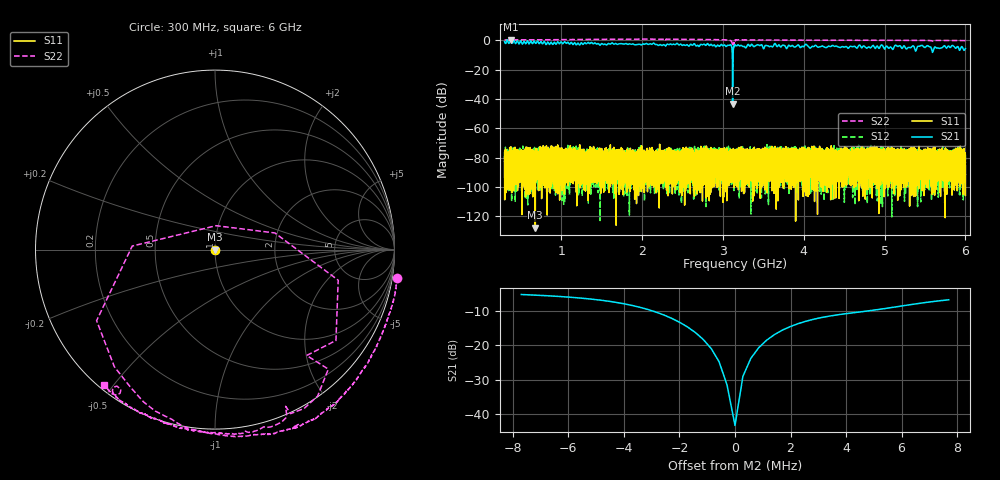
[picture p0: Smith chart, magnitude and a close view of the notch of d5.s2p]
!Agilent Technologies,N5230C,SG49000117,A.08.50.07
!Agilent N5230C: A.08.50.07
!Date: Sunday, March 17, 2024 09:05:26
!Correction: S11(Off)
!S21(Off)
!S12(Off)
!S22(Full 1 Port(2))
!S2P File: Measurements: S11, S21, S12, S22:
# Hz S  RI  R 50
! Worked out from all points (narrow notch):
!   20001 points, 300 MHz to 6 GHz, reference 50 ohm
!   highest |S21| = 0.47 dB at 374.1 MHz (marker M1); lowest = -43.3 dB at 3.12 GHz (marker M2)
!   notch at M2: 39.8 dB deep, 1.3 MHz wide at half that depth
!   lowest |S11| = -127.6 dB at 679.6 MHz (marker M3), VSWR 1.00, Z = 50 + j2.81e-05 ohm
!   |S11| at or under -10 dB: start of sweep to end of sweep
!   |S22| runs from -17.9 to 0.8 dB; largest |S21 - S12| = 1.1
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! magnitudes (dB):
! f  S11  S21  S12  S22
! 300 MHz  -82.7  -0.9  -79.2  0.2
! 374.1 MHz  -84.7  0.5  -77.6  0.2
! 679.6 MHz  -127.6  -1.9  -81.1  0.3
! 1.25 GHz  -86.4  -1.7  -82.4  0.5
! 2.2 GHz  -89.6  -3.6  -89.7  0.8
! 3.053 GHz  -86.9  -3.7  -98.1  0.2
! 3.084 GHz  -80.0  -3.3  -83.6  0.0
! 3.098 GHz  -90.3  -3.1  -76.7  -0.3
! 3.12 GHz  -77.7  -43.3  -79.9  -8.6
! 3.15 GHz  -79.2  -3.0  -84.0  0.1
! 3.159 GHz  -77.7  -3.6  -77.5  0.0
! 3.189 GHz  -90.1  -3.1  -80.4  0.3
! 3.975 GHz  -76.2  -4.2  -75.5  0.1
! 4.032 GHz  -84.3  -2.8  -78.8  0.1
! 4.1 GHz  -82.8  -4.3  -96.6  0.0
! 5.05 GHz  -88.4  -5.5  -79.7  0.0
! 5.157 GHz  -80.2  -4.1  -92.4  0.0
! 5.392 GHz  -84.2  -6.7  -82.9  -0.1
! 5.451 GHz  -81.9  -3.5  -76.2  -0.1
! 5.604 GHz  -86.7  -6.8  -86.3  -0.2
! 5.842 GHz  -95.9  -3.5  -77.4  -0.2
! 6 GHz  -85.5  -5.6  -83.2  -0.2
